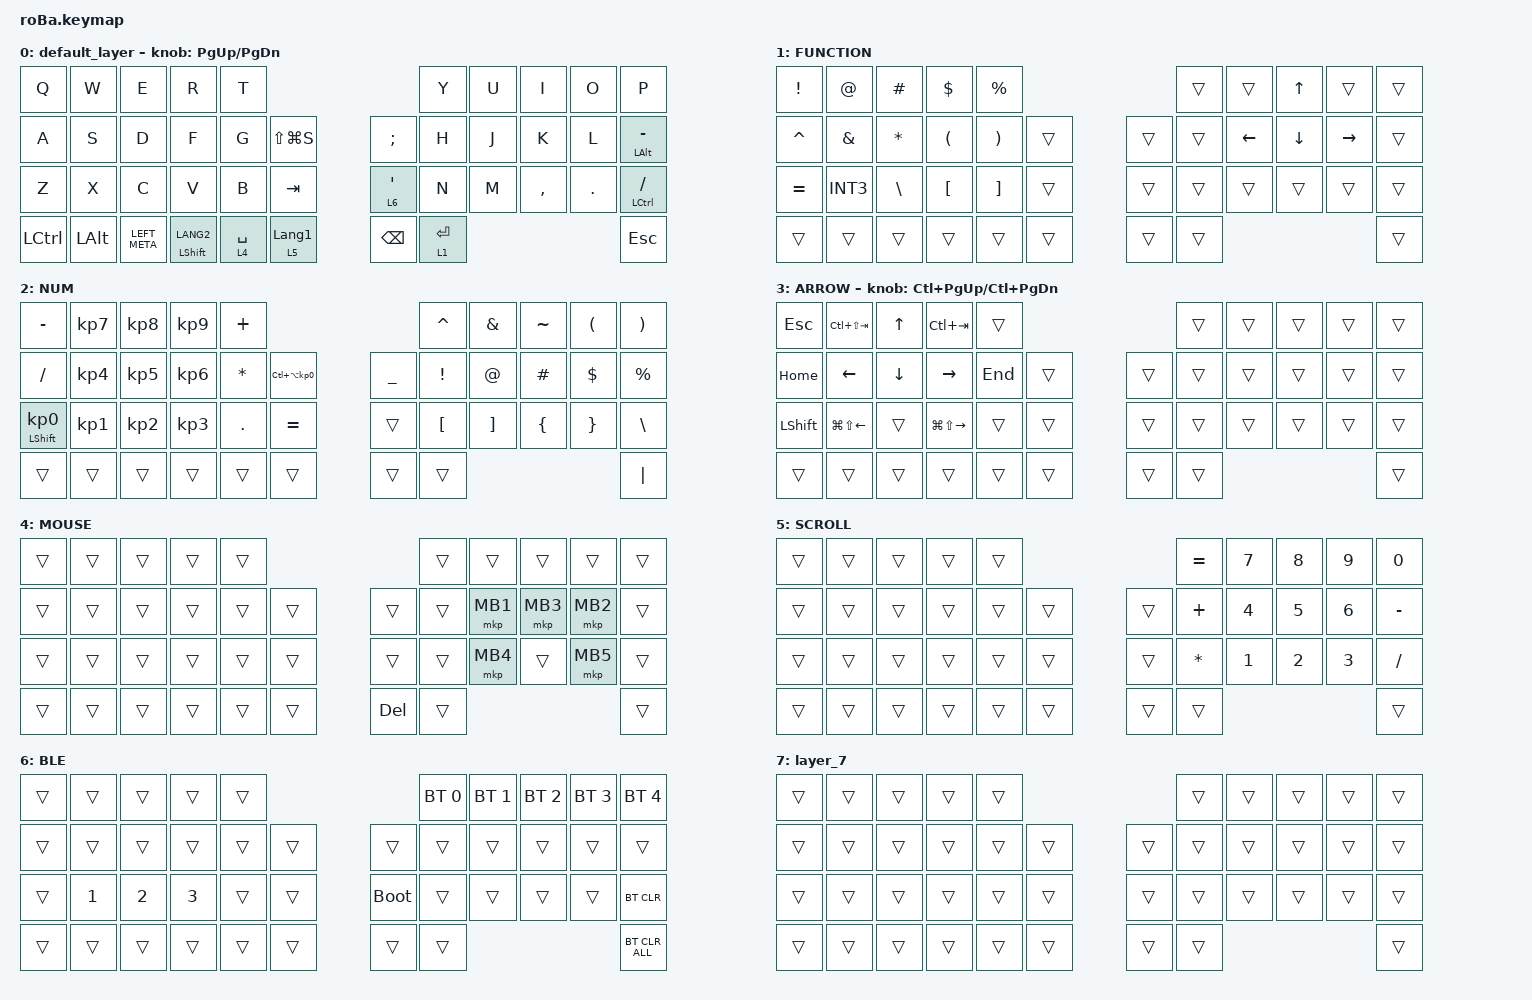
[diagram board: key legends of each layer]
#include <behaviors.dtsi>
#include <dt-bindings/zmk/bt.h>
#include <dt-bindings/zmk/keys.h>
#include <dt-bindings/zmk/pointing.h>

#define MOUSE 4
#define SCROLL 5
#define NUM 6

&mt {
    flavor = "balanced";
    quick-tap-ms = <0>;
};

/ {
    combos {
        compatible = "zmk,combos";

        tab {
            bindings = <&kp TAB>;
            key-positions = <11 12>;
        };

        shift_tab {
            bindings = <&kp LS(TAB)>;
            key-positions = <12 13>;
        };

        double_quotation {
            bindings = <&kp DOUBLE_QUOTES>;
            key-positions = <20 21>;
        };

        eq {
            bindings = <&kp EQUAL>;
            key-positions = <24 25>;
        };
    };

    macros {
        to_layer_0: to_layer_0 {
            compatible = "zmk,behavior-macro-one-param";
            #binding-cells = <1>;
            bindings = <&to 0 &macro_param_1to1 &kp MACRO_PLACEHOLDER>;
            label = "TO_LAYER_0";
        };
    };

    behaviors {
        lt_to_layer_0: lt_to_layer_0 {
            compatible = "zmk,behavior-hold-tap";
            label = "LAYER_TAP_TO_0";
            bindings = <&mo>, <&to_layer_0>;

            #binding-cells = <2>;
            tapping-term-ms = <200>;
        };
    };

    keymap {
        compatible = "zmk,keymap";

        default_layer {
            bindings = <
&kp Q      &kp W         &kp E          &kp R                 &kp T                                                             &kp Y        &kp U  &kp I      &kp O    &kp P
&kp A      &kp S         &kp D          &kp F                 &kp G        &kp LS(LG(S))                    &kp SEMICOLON       &kp H        &kp J  &kp K      &kp L    &mt LEFT_ALT MINUS
&kp Z      &kp X         &kp C          &kp V                 &kp B        &kp TAB                          &lt 6 SINGLE_QUOTE  &kp N        &kp M  &kp COMMA  &kp DOT  &mt LCTRL SLASH
&kp LCTRL  &kp LEFT_ALT  &kp LEFT_META  &mt LEFT_SHIFT LANG2  &lt 4 SPACE  &lt_to_layer_0 5 LANGUAGE_1      &kp BACKSPACE       &lt 1 ENTER                             &kp ESC
            >;

            sensor-bindings = <&inc_dec_kp PG_UP PAGE_DOWN>;
        };

        FUNCTION {
            bindings = <
&kp EXCLAMATION  &kp AT         &kp HASH       &kp DOLLAR            &kp PERCENT                                &trans  &trans          &kp UP_ARROW    &trans           &trans
&kp CARET        &kp AMPERSAND  &kp ASTERISK   &kp LEFT_PARENTHESIS  &kp RIGHT_PARENTHESIS  &trans      &trans  &trans  &kp LEFT_ARROW  &kp DOWN_ARROW  &kp RIGHT_ARROW  &trans
&kp EQUAL        &kp INT3       &kp BACKSLASH  &kp LEFT_BRACKET      &kp RIGHT_BRACKET      &trans      &trans  &trans  &trans          &trans          &trans           &trans
&trans           &trans         &trans         &trans                &trans                 &trans      &trans  &trans                                                   &trans
            >;
        };

        NUM {
            bindings = <
&kp MINUS                   &kp KP_NUMBER_7  &kp KP_NUMBER_8  &kp KP_NUMBER_9  &kp PLUS                                                   &kp CARET         &kp AMPERSAND      &kp TILDE       &kp LEFT_PARENTHESIS  &kp RIGHT_PARENTHESIS
&kp SLASH                   &kp KP_NUMBER_4  &kp KP_NUMBER_5  &kp KP_NUMBER_6  &kp ASTERISK  &kp LC(LA(KP_NUMBER_0))      &kp UNDERSCORE  &kp EXCLAMATION   &kp AT_SIGN        &kp HASH        &kp DOLLAR            &kp PERCENT
&mt LEFT_SHIFT KP_NUMBER_0  &kp KP_NUMBER_1  &kp KP_NUMBER_2  &kp KP_NUMBER_3  &kp PERIOD    &kp EQUAL                    &trans          &kp LEFT_BRACKET  &kp RIGHT_BRACKET  &kp LEFT_BRACE  &kp RIGHT_BRACE       &kp BACKSLASH
&trans                      &trans           &trans           &trans           &trans        &trans                       &trans          &trans                                                                     &kp PIPE
            >;
        };

        ARROW {
            bindings = <
&kp ESCAPE      &kp LC(LS(TAB))         &kp UP_ARROW    &kp LC(TAB)              &trans                       &trans  &trans  &trans  &trans  &trans
&kp HOME        &kp LEFT_ARROW          &kp DOWN_ARROW  &kp RIGHT_ARROW          &kp END  &trans      &trans  &trans  &trans  &trans  &trans  &trans
&kp LEFT_SHIFT  &kp LG(LS(LEFT_ARROW))  &trans          &kp LG(LS(RIGHT_ARROW))  &trans   &trans      &trans  &trans  &trans  &trans  &trans  &trans
&trans          &trans                  &trans          &trans                   &trans   &trans      &trans  &trans                          &trans
            >;

            sensor-bindings = <&inc_dec_kp LC(PAGE_UP) LC(PAGE_DOWN)>;
        };

        MOUSE {
            bindings = <
&trans  &trans  &trans  &trans  &trans                          &trans  &trans    &trans    &trans    &trans
&trans  &trans  &trans  &trans  &trans  &trans      &trans      &trans  &mkp MB1  &mkp MB3  &mkp MB2  &trans
&trans  &trans  &trans  &trans  &trans  &trans      &trans      &trans  &mkp MB4  &trans    &mkp MB5  &trans
&trans  &trans  &trans  &trans  &trans  &trans      &kp DELETE  &trans                                &trans
            >;
        };

        SCROLL {
            bindings = <
&trans  &trans  &trans  &trans  &trans                      &kp EQUAL     &kp N7        &kp N8        &kp N9        &kp N0
&trans  &trans  &trans  &trans  &trans  &trans      &trans  &kp PLUS      &kp NUMBER_4  &kp N5        &kp NUMBER_6  &kp MINUS
&trans  &trans  &trans  &trans  &trans  &trans      &trans  &kp ASTERISK  &kp N1        &kp NUMBER_2  &kp NUMBER_3  &kp SLASH
&trans  &trans  &trans  &trans  &trans  &trans      &trans  &trans                                                  &trans
            >;
        };

        BLE {
            bindings = <
&trans  &trans        &trans        &trans        &trans                           &bt BT_SEL 0  &bt BT_SEL 1  &bt BT_SEL 2  &bt BT_SEL 3  &bt BT_SEL 4
&trans  &trans        &trans        &trans        &trans  &trans      &trans       &trans        &trans        &trans        &trans        &trans
&trans  &kp NUMBER_1  &kp NUMBER_2  &kp NUMBER_3  &trans  &trans      &bootloader  &trans        &trans        &trans        &trans        &bt BT_CLR
&trans  &trans        &trans        &trans        &trans  &trans      &trans       &trans                                                  &bt BT_CLR_ALL
            >;
        };

        layer_7 {
            bindings = <
&trans  &trans  &trans  &trans  &trans                      &trans  &trans  &trans  &trans  &trans
&trans  &trans  &trans  &trans  &trans  &trans      &trans  &trans  &trans  &trans  &trans  &trans
&trans  &trans  &trans  &trans  &trans  &trans      &trans  &trans  &trans  &trans  &trans  &trans
&trans  &trans  &trans  &trans  &trans  &trans      &trans  &trans                          &trans
            >;
        };
    };
};
